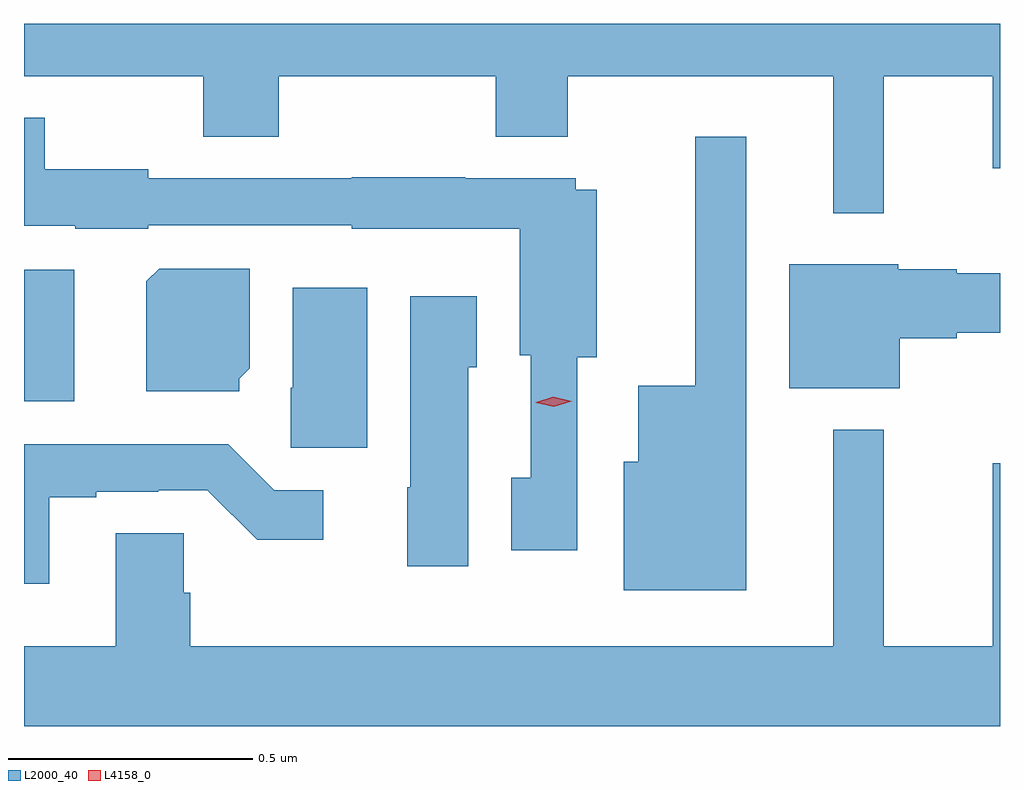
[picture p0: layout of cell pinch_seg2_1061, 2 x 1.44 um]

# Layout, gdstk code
import gdstk
lib = gdstk.Library(unit=1e-6, precision=1e-09)
def R(c, l, rs):  # rectangles x0, y0, x1, y1
    for r in rs: c.add(gdstk.rectangle(r[:2], r[2:], *l))
def P(c, l, *ps):  # polygons
    for p in ps: c.add(gdstk.Polygon(p, *l))
L2000_40 = (2000, 40)
L4158_0 = (4158, 0)

pinch_seg2_1061 = lib.new_cell('pinch_seg2_1061')
R(pinch_seg2_1061, L2000_40, [(330.855,605.678,330.958,605.948)])
P(pinch_seg2_1061, L2000_40, [(332.617,606.344),(332.84,606.344),(332.84,606.156),(332.855,606.156),(332.855,606.452),(330.855,606.452),(330.855,606.344),(331.222,606.344),(331.222,606.22),(331.377,606.22),(331.377,606.344),(331.822,606.344),(331.822,606.22),(331.969,606.22),(331.969,606.344),(332.513,606.344),(332.513,606.063),(332.617,606.063)],
  [(331.989,605.768),(332.029,605.768),(332.029,606.112),(331.986,606.112),(331.986,606.135),(331.759,606.135),(331.759,606.137),(331.527,606.137),(331.527,606.135),(331.11,606.135),(331.11,606.154),(330.898,606.154),(330.898,606.259),(330.855,606.259),(330.855,606.038),(330.96,606.038),(330.96,606.032),(331.11,606.032),(331.11,606.039),(331.527,606.039),(331.527,606.032),(331.871,606.032),(331.871,605.772),(331.893,605.772),(331.893,605.521),(331.853,605.521),(331.853,605.373),(331.989,605.373)],
  [(332.335,606.22),(332.231,606.22),(332.231,605.71),(332.114,605.71),(332.114,605.554),(332.084,605.554),(332.084,605.291),(332.335,605.291)],
  [(332.65,605.807),(332.766,605.807),(332.766,605.819),(332.855,605.819),(332.855,605.941),(332.766,605.941),(332.766,605.949),(332.646,605.949),(332.646,605.959),(332.423,605.959),(332.423,605.705),(332.65,605.705)],
  [(331.296,605.724),(331.318,605.746),(331.318,605.95),(331.132,605.95),(331.106,605.924),(331.106,605.699),(331.296,605.699)],
  [(331.558,605.911),(331.406,605.911),(331.406,605.706),(331.402,605.706),(331.402,605.583),(331.558,605.583)],
  [(331.765,605.748),(331.783,605.748),(331.783,605.893),(331.646,605.893),(331.646,605.502),(331.64,605.502),(331.64,605.34),(331.765,605.34)],
  [(332.855,605.551),(332.84,605.551),(332.84,605.176),(332.617,605.176),(332.617,605.62),(332.513,605.62),(332.513,605.176),(331.196,605.176),(331.196,605.286),(331.182,605.286),(331.182,605.408),(331.043,605.408),(331.043,605.176),(330.855,605.176),(330.855,605.012),(332.855,605.012)],
  [(330.907,605.481),(331.003,605.481),(331.003,605.493),(331.13,605.493),(331.13,605.496),(331.23,605.496),(331.333,605.394),(331.468,605.394),(331.468,605.496),(331.368,605.496),(331.274,605.59),(330.855,605.59),(330.855,605.304),(330.907,605.304)])
P(pinch_seg2_1061, L4158_0, [(331.941,605.667),(331.905,605.675),(331.904,605.676),(331.905,605.676),(331.94,605.687),(331.977,605.678),(331.977,605.678),(331.977,605.678)])

lib.write_gds('pinch_seg2_1061.gds')
